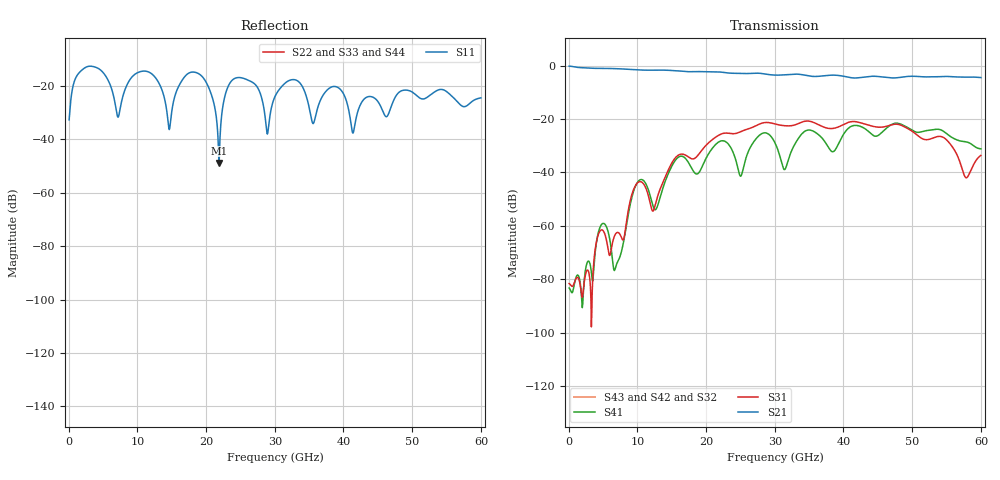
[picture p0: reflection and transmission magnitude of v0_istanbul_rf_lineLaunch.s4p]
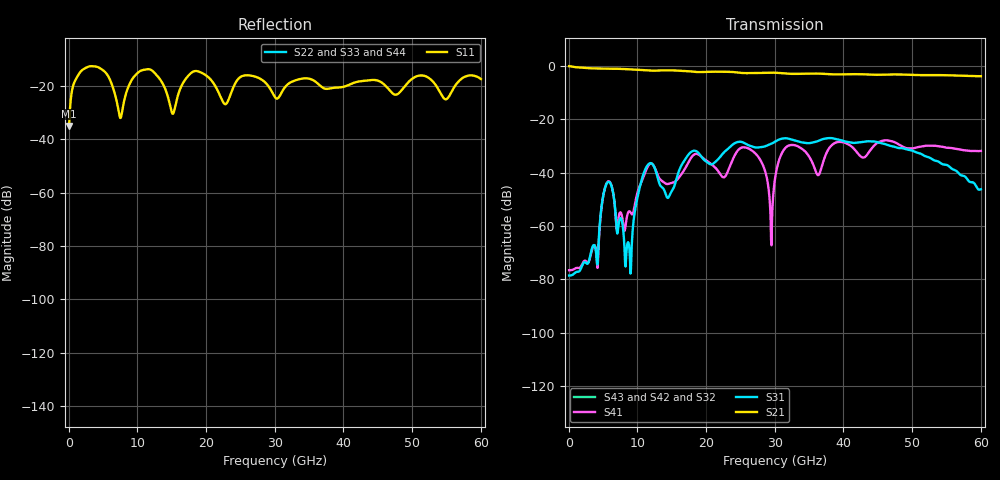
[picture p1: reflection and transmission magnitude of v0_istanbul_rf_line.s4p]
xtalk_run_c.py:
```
"""Istanbul run (c): line pair + input launch pads (on oxide) at the near end, 50 ohm discrete ports at both ends.
Touchstone ports: 1 = A near pad (excited), 2 = A far (z 9.05), 3 = B near pad, 4 = B far (history; far-end assignment
confirmed by port_check_c.py). NEXT = |S31|, FEXT = |S41|.
EO crosstalk from the gap fields as in runs (a), (b): both lines sampled 5 um from their centre, 50 ohm source,
push-pull, n_g 2.27. Field grid z 0.300..9.050 (runs a, b: 0.3025..9.0525); the z = 0.300 point (zero in line A, at the
line/pad boundary) is dropped. Line B exports at 2 and 15 GHz are corrupted (15: all zero; 2: only Ex) -> left out."""
import os, sys
HERE = os.path.dirname(os.path.abspath(__file__))
RA, RB = os.path.join(HERE, "../istanbul_run_a"), os.path.join(HERE, "../istanbul_run_b")
sys.path.insert(0, RA); sys.path.insert(0, os.path.abspath(os.path.join(HERE, "../../../..")))
import numpy as np, skrf as rf, matplotlib
matplotlib.use("Agg"); import matplotlib.pyplot as plt
from mzm_interconnect import parameters as P, xtalk_fields as XF
from load_fields import load
p = P.defaults(); p["Rt_R"] = 50.0; p["Zs_R"] = 50.0
dB = lambda s: 20 * np.log10(np.maximum(abs(s), 1e-12))
BAD = (2.0, 15.0)
Xc = XF.eo_crosstalk_fields(p, load(base=HERE, a_zip="e-field (f=1) [1]_lineA.zip", drop="first", skip_f=BAD)); f = Xc["f_GHz"]
Xa = XF.eo_crosstalk_fields(p, load(skip_f=BAD)); Xb = XF.eo_crosstalk_fields(p, load(base=RB, a_zip="e-field (f=1) [1]_lineA.zip", skip_f=BAD))
assert np.allclose(Xa["f_GHz"], f) and np.allclose(Xb["f_GHz"], f)
eoa, eob, eoc = dB(Xa["X"]), dB(Xb["X"]), dB(Xc["X"])
nc = rf.Network(os.path.join(HERE, "v0_istanbul_rf_lineLaunch.s4p")); fc = nc.f / 1e9
na = rf.Network(os.path.join(RA, "v0_istanbul_rf_line.s4p")); fa = na.f / 1e9
nb = rf.Network(os.path.join(RB, "v0_istanbul_rf_lineZload.s2p")); fb = nb.f / 1e9
S = {"NEXT a": (fa, dB(na.s[:, 2, 0])), "NEXT b": (fb, dB(nb.s[:, 1, 0])), "NEXT c": (fc, dB(nc.s[:, 2, 0])),
     "FEXT a": (fa, dB(na.s[:, 3, 0])), "FEXT c": (fc, dB(nc.s[:, 3, 0])),
     "S11 a": (fa, dB(na.s[:, 0, 0])), "S11 c": (fc, dB(nc.s[:, 0, 0])), "S21 a": (fa, dB(na.s[:, 1, 0])), "S21 c": (fc, dB(nc.s[:, 1, 0]))}
I = {k: np.interp(f, *v) for k, v in S.items()}
np.savetxt(os.path.join(HERE, "xtalk_run_c.csv"), np.c_[f, I["NEXT c"], I["FEXT c"], eoc, eoa, eob], delimiter=",", fmt="%.3f",
           header="f_GHz,NEXT_dB_run_c,FEXT_dB_run_c,EO_dB_run_c,EO_dB_run_a,EO_dB_run_b", comments="")
k = f >= 5
print("f | NEXT a b c | FEXT a c | EO a b c | S11 a c | S21 a c (dB)")
for q in (5, 10, 20, 30, 40, 50, 60):
    i = np.argmin(abs(f - q))
    print(f"{q:2d} | {I['NEXT a'][i]:6.1f} {I['NEXT b'][i]:6.1f} {I['NEXT c'][i]:6.1f} | {I['FEXT a'][i]:6.1f} {I['FEXT c'][i]:6.1f} | "
          f"{eoa[i]:6.1f} {eob[i]:6.1f} {eoc[i]:6.1f} | {I['S11 a'][i]:6.1f} {I['S11 c'][i]:6.1f} | {I['S21 a'][i]:5.1f} {I['S21 c'][i]:5.1f}")
for lab, y in (("NEXT a", I["NEXT a"]), ("NEXT b", I["NEXT b"]), ("NEXT c", I["NEXT c"]), ("FEXT a", I["FEXT a"]),
               ("FEXT c", I["FEXT c"]), ("EO a", eoa), ("EO b", eob), ("EO c", eoc)):
    j = np.argmax(np.where(k, y, -999)); print(f"max {lab} 5-60 GHz: {y[j]:.1f} dB at {f[j]:.0f} GHz; median {np.median(y[k]):.1f}")
for lab, y, r in (("EO c - EO a", eoc, eoa), ("EO c - EO b", eoc, eob), ("NEXT c - NEXT a", I["NEXT c"], I["NEXT a"]),
                  ("FEXT c - FEXT a", I["FEXT c"], I["FEXT a"]), ("S11 c - S11 a", I["S11 c"], I["S11 a"])):
    d = y - r; print("%s, 5-60 GHz: median %+.1f dB, 5-95%% %+.1f .. %+.1f; corr %.2f" % (lab, np.median(d[k]), *np.percentile(d[k], [5, 95]), np.corrcoef(y[k], r[k])[0, 1]))
print("corr(EO c, FEXT c) %.2f, corr(EO c, NEXT c) %.2f" % (np.corrcoef(eoc[k], I["FEXT c"][k])[0, 1], np.corrcoef(eoc[k], I["NEXT c"][k])[0, 1]))
m = (fc >= 1) & (fc <= 60); ma = (fa >= 1) & (fa <= 60)
print(f"|S11| 1-60 GHz median: a {np.median(dB(na.s[ma,0,0])):.1f}, c {np.median(dB(nc.s[m,0,0])):.1f} dB; max a {dB(na.s[ma,0,0]).max():.1f}, c {dB(nc.s[m,0,0]).max():.1f}")
C = {"a": "#eb6834", "b": "#2a78d6", "c": "#1baa7d"}
def fig_(name, title, ylab, curves):
    fig, ax = plt.subplots(figsize=(8.5, 4.6))
    for x, y, c, ls, lab in curves: ax.plot(x, y, ls, color=c, ms=3, lw=1.3, label=lab)
    ax.set_xlim(0, 60); ax.set_ylim(-110, -15); ax.set_xlabel("frequency (GHz)"); ax.set_ylabel(ylab); ax.grid(alpha=0.3)
    ax.set_title(title, fontsize=9.5); ax.legend(frameon=False, fontsize=8, loc="lower right"); fig.tight_layout()
    fig.savefig(os.path.join(HERE, name), dpi=150)
fig_("xtalk_run_c.png", "Istanbul run (c), 8.75 mm line + launch pads, 50 ohm ports: NEXT, FEXT and EO crosstalk", "dB",
     [(*S["NEXT c"], "0.55", "-", "NEXT |S31|"), (*S["FEXT c"], "0.2", "-", "FEXT |S41|"), (f, eoc, C["c"], "o-", "EO crosstalk B/A (gap fields)")])
fig_("eo_runs_abc.png", "Istanbul 8.75 mm, EO crosstalk B/A: runs (a), (b), (c) (2 and 15 GHz left out)", "EO crosstalk (dB)",
     [(f, eoa, C["a"], "o-", "(a) bare line, 50 ohm ports"), (f, eob, C["b"], "o-", "(b) real far-end terminations"),
      (f, eoc, C["c"], "o-", "(c) launch pads, 50 ohm ports")])
fig_("next_fext_runs_abc.png", "Istanbul 8.75 mm: NEXT (solid) and FEXT (dashed), runs (a), (b), (c)", "dB",
     [(*S["NEXT a"], C["a"], "-", "NEXT (a)"), (*S["NEXT b"], C["b"], "-", "NEXT (b)"), (*S["NEXT c"], C["c"], "-", "NEXT (c)"),
      (*S["FEXT a"], C["a"], "--", "FEXT (a)"), (*S["FEXT c"], C["c"], "--", "FEXT (c)")])
```
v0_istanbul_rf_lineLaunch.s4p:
! TOUCHSTONE file generated by CST MICROWAVE STUDIO
! Date and time: Fri Nov  6 09:24:55 2026
! Project name: v0_istanbul_rf_line+Launch.cst
! Parameters = {LN_THICKNESS=0.000275; SILICON_THICKNESS=0.55}
! Header version: 2024
! Port assignment regex: !\s*Touchstone port\s*([0-9]+)\s*=\s*(CST MWS port|CST DES external port|CST DES block port)\s*(.+)\s* \(\"(.*)\"\)(\s*mode\s*([0-9]+))?.*
! Touchstone port assignment:
! Touchstone port 1 = CST MWS port 1 ("")
! Touchstone port 2 = CST MWS port 2 ("")
! Touchstone port 3 = CST MWS port 3 ("")
! Touchstone port 4 = CST MWS port 4 ("")
# GHz S MA R 50
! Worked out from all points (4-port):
!   1000 points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, 60 MHz to 60 GHz, reference 50 ohm
!   strongest paths, dB at 60 MHz, 15.06 GHz, 30.06 GHz, 45.06 GHz, 60 GHz:
!     S21: -0.2, -1.8, -3.5, -4.1, -4.5
!     S31: -81.6, -36.2, -21.8, -23.0, -33.6
!     S41: -83.3, -37.4, -29.1, -26.1, -31.1
!     S43: -, -, -, -, -
!     S42: -, -, -, -, -
!     S32: -, -, -, -, -
!   lowest |S11| = -48.9 dB at 21.9 GHz (marker M1), VSWR 1.01, Z = 50.4 - j0.0262 ohm
!   |S11| at or under -10 dB: start of sweep to end of sweep
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0.06  0.02318 22.9  0 0.0  0 0.0  0 0.0
      0.9788 -1.8  0 0.0  0 0.0  0 0.0
      8.324e-05 -13.0  0 0.0  0 0.0  0 0.0
      6.878e-05 -13.1  0 0.0  0 0.0  0 0.0
21.9  0.003596 -4.1  0 0.0  0 0.0  0 0.0
      0.7623 164.4  0 0.0  0 0.0  0 0.0
      0.05037 13.4  0 0.0  0 0.0  0 0.0
      0.03768 -70.9  0 0.0  0 0.0  0 0.0
60  0.05962 61.5  0 0.0  0 0.0  0 0.0
    0.5989 -63.0  0 0.0  0 0.0  0 0.0
    0.0209 -136.5  0 0.0  0 0.0  0 0.0
    0.02773 -162.2  0 0.0  0 0.0  0 0.0
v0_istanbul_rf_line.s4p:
! TOUCHSTONE file generated by CST MICROWAVE STUDIO
! Date and time: Thu Nov  5 15:45:10 2026
! Project name: v0_istanbul_rf_line.cst
! Parameters = {LN_THICKNESS=0.000275; SILICON_THICKNESS=0.55}
! Header version: 2024
! Port assignment regex: !\s*Touchstone port\s*([0-9]+)\s*=\s*(CST MWS port|CST DES external port|CST DES block port)\s*(.+)\s* \(\"(.*)\"\)(\s*mode\s*([0-9]+))?.*
! Touchstone port assignment:
! Touchstone port 1 = CST MWS port 1 ("")
! Touchstone port 2 = CST MWS port 2 ("")
! Touchstone port 3 = CST MWS port 3 ("")
! Touchstone port 4 = CST MWS port 4 ("")
# GHz S MA R 50
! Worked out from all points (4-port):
!   1000 points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, 60 MHz to 60 GHz, reference 50 ohm
!   strongest paths, dB at 60 MHz, 15.06 GHz, 30.06 GHz, 45.06 GHz, 60 GHz:
!     S21: -0.1, -1.7, -2.6, -3.4, -3.9
!     S31: -78.5, -46.7, -28.4, -28.7, -46.2
!     S41: -76.5, -43.8, -41.8, -28.6, -31.9
!     S43: -, -, -, -, -
!     S42: -, -, -, -, -
!     S32: -, -, -, -, -
!   lowest |S11| = -35.0 dB at 60 MHz (marker M1), VSWR 1.04, Z = 51.4 + j1.06 ohm
!   |S11| at or under -10 dB: start of sweep to end of sweep
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0.06  0.01769 35.6  0 0.0  0 0.0  0 0.0
      0.9858 -1.8  0 0.0  0 0.0  0 0.0
      0.0001184 158.7  0 0.0  0 0.0  0 0.0
      0.0001491 -20.8  0 0.0  0 0.0  0 0.0
18.18  0.1852 0.8  0 0.0  0 0.0  0 0.0
       0.7761 -71.4  0 0.0  0 0.0  0 0.0
       0.02569 -168.8  0 0.0  0 0.0  0 0.0
       0.02146 2.2  0 0.0  0 0.0  0 0.0
60  0.1334 -44.2  0 0.0  0 0.0  0 0.0
    0.6401 35.9  0 0.0  0 0.0  0 0.0
    0.004881 131.0  0 0.0  0 0.0  0 0.0
    0.02552 -43.7  0 0.0  0 0.0  0 0.0
